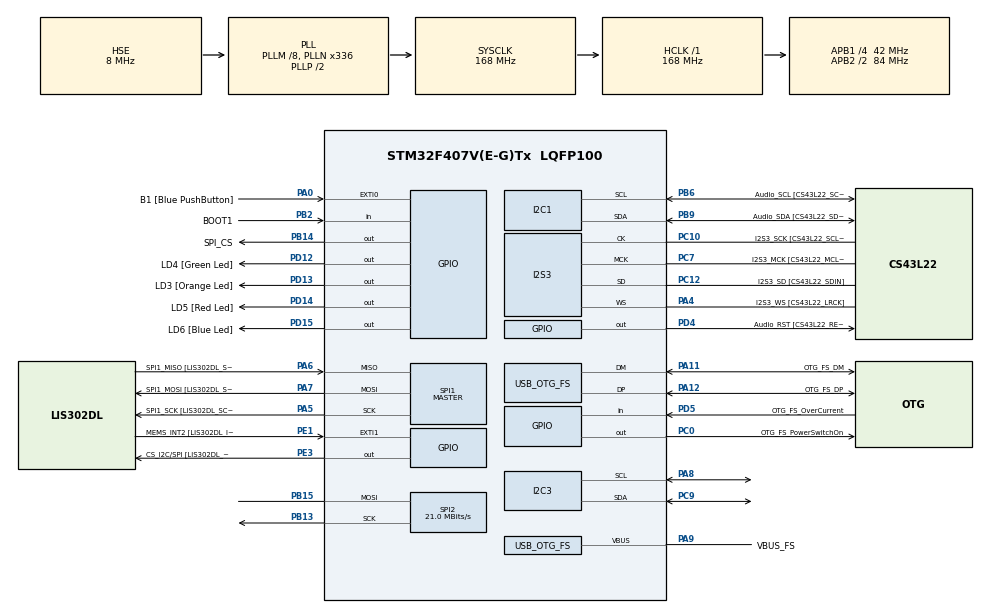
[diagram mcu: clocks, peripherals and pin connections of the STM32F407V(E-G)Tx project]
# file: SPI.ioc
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Dma.Request0=SPI2_TX
Dma.SPI2_TX.0.Direction=DMA_MEMORY_TO_PERIPH
Dma.SPI2_TX.0.FIFOMode=DMA_FIFOMODE_DISABLE
Dma.SPI2_TX.0.Instance=DMA1_Stream4
Dma.SPI2_TX.0.MemDataAlignment=DMA_MDATAALIGN_BYTE
Dma.SPI2_TX.0.MemInc=DMA_MINC_ENABLE
Dma.SPI2_TX.0.Mode=DMA_NORMAL
Dma.SPI2_TX.0.PeriphDataAlignment=DMA_PDATAALIGN_BYTE
Dma.SPI2_TX.0.PeriphInc=DMA_PINC_DISABLE
Dma.SPI2_TX.0.Priority=DMA_PRIORITY_LOW
I2S3.AudioFreq-Half_Duplex_Master=I2S_AUDIOFREQ_96K
I2S3.ErrorAudioFreq=-2.34 %
I2S3.ErrorAudioFreq-Half_Duplex_Master=0.8 %
I2S3.FullDuplexMode=I2S_FULLDUPLEXMODE_DISABLE
I2S3.Instance=SPI$Index
I2S3.RealAudioFreq=93.75 KHz
I2S3.RealAudioFreq-Half_Duplex_Master=96.774 KHz
I2S3.VirtualMode=I2S_MODE_MASTER
Mcu.Family=STM32F4
Mcu.Name=STM32F407V(E-G)Tx
Mcu.Package=LQFP100
NVIC.DMA1_Stream4_IRQn=true\:0\:0\:false\:false\:true\:false\:true\:true
NVIC.OTG_FS_IRQn=true\:0\:0\:false\:false\:true\:true\:true\:true
NVIC.PriorityGroup=NVIC_PRIORITYGROUP_0
PA0-WKUP.GPIO_Label=B1 [Blue PushButton]
PA0-WKUP.GPIO_ModeDefaultEXTI=GPIO_MODE_EVT_RISING
PA0-WKUP.GPIO_PuPd=GPIO_NOPULL
PA0-WKUP.Signal=GPXTI0
PA10.GPIO_Label=OTG_FS_ID
PA10.GPIO_Mode=GPIO_MODE_AF_PP
PA10.GPIO_PuPd=GPIO_NOPULL
PA10.GPIO_Speed=GPIO_SPEED_FREQ_LOW
PA10.Signal=USB_OTG_FS_ID
PA11.GPIO_Label=OTG_FS_DM
PA11.GPIO_Mode=GPIO_MODE_AF_PP
PA11.GPIO_PuPd=GPIO_NOPULL
PA11.GPIO_Speed=GPIO_SPEED_FREQ_LOW
PA11.Mode=Host_Only
PA11.Signal=USB_OTG_FS_DM
PA12.GPIO_Label=OTG_FS_DP
PA12.GPIO_Mode=GPIO_MODE_AF_PP
PA12.GPIO_PuPd=GPIO_NOPULL
PA12.GPIO_Speed=GPIO_SPEED_FREQ_LOW
PA12.Mode=Host_Only
PA12.Signal=USB_OTG_FS_DP
PA13.GPIO_Label=SWDIO
PA13.Mode=Serial_Wire
PA13.Signal=SYS_JTMS-SWDIO
PA14.GPIO_Label=SWCLK
PA14.Mode=Serial_Wire
PA14.Signal=SYS_JTCK-SWCLK
PA4.GPIO_Label=I2S3_WS [CS43L22_LRCK]
PA4.GPIO_Mode=GPIO_MODE_AF_PP
PA4.GPIO_PuPd=GPIO_NOPULL
PA4.GPIO_Speed=GPIO_SPEED_FREQ_LOW
PA4.Mode=Half_Duplex_Master
PA4.Signal=I2S3_WS
PA5.GPIO_Label=SPI1_SCK [LIS302DL_SCL/SPC]
PA5.GPIO_Mode=GPIO_MODE_AF_PP
PA5.GPIO_PuPd=GPIO_NOPULL
PA5.GPIO_Speed=GPIO_SPEED_FREQ_LOW
PA5.Mode=Full_Duplex_Master
PA5.Signal=SPI1_SCK
PA6.GPIO_Label=SPI1_MISO [LIS302DL_SDO]
PA6.GPIO_Mode=GPIO_MODE_AF_PP
PA6.GPIO_PuPd=GPIO_NOPULL
PA6.GPIO_Speed=GPIO_SPEED_FREQ_LOW
PA6.Mode=Full_Duplex_Master
PA6.Signal=SPI1_MISO
PA7.GPIO_Label=SPI1_MOSI [LIS302DL_SDA/SDI/SDO]
PA7.GPIO_Mode=GPIO_MODE_AF_PP
PA7.GPIO_PuPd=GPIO_NOPULL
PA7.GPIO_Speed=GPIO_SPEED_FREQ_LOW
PA7.Mode=Full_Duplex_Master
PA7.Signal=SPI1_MOSI
PA8.Mode=I2C
PA8.Signal=I2C3_SCL
PA9.GPIO_Label=VBUS_FS
PA9.GPIO_Mode=GPIO_MODE_INPUT
PA9.GPIO_PuPd=GPIO_NOPULL
PA9.Mode=Activate_VBUS
PA9.Signal=USB_OTG_FS_VBUS
PB10.GPIO_Label=CLK_IN [MP45DT02_CLK]
PB10.GPIO_Mode=GPIO_MODE_AF_PP
PB10.GPIO_PuPd=GPIO_NOPULL
PB10.GPIO_Speed=GPIO_SPEED_FREQ_LOW
PB10.Signal=I2S2_CK
PB13.Mode=Simplex_Bidirectional_Master
PB13.Signal=SPI2_SCK
PB14.GPIO_Label=SPI_CS
PB14.PinState=GPIO_PIN_SET
PB14.Signal=GPIO_Output
PB15.Mode=Simplex_Bidirectional_Master
PB15.Signal=SPI2_MOSI
PB2.GPIO_Label=BOOT1
PB2.GPIO_Mode=GPIO_MODE_INPUT
PB2.GPIO_PuPd=GPIO_NOPULL
PB2.Signal=GPIO_Input
PB3.GPIO_Label=SWO
PB3.Signal=SYS_JTDO-SWO
PB6.GPIO_Label=Audio_SCL [CS43L22_SCL]
PB6.GPIO_Mode=GPIO_MODE_AF_OD
PB6.GPIO_Pu=GPIO_PULLUP
PB6.GPIO_PuPd=GPIO_NOPULL
PB6.GPIO_Speed=GPIO_SPEED_FREQ_LOW
PB6.Mode=I2C
PB6.Signal=I2C1_SCL
PB9.GPIO_Label=Audio_SDA [CS43L22_SDA]
PB9.GPIO_Mode=GPIO_MODE_AF_OD
PB9.GPIO_Pu=GPIO_PULLUP
PB9.GPIO_PuPd=GPIO_NOPULL
PB9.GPIO_Speed=GPIO_SPEED_FREQ_LOW
PB9.Mode=I2C
PB9.Signal=I2C1_SDA
PC0.GPIO_Label=OTG_FS_PowerSwitchOn
PC0.GPIO_PuPd=GPIO_NOPULL
PC0.GPIO_Speed=GPIO_SPEED_FREQ_LOW
PC0.PinState=GPIO_PIN_SET
PC0.Signal=GPIO_Output
PC10.GPIO_Label=I2S3_SCK [CS43L22_SCLK]
PC10.GPIO_Mode=GPIO_MODE_AF_PP
PC10.GPIO_PuPd=GPIO_NOPULL
PC10.GPIO_Speed=GPIO_SPEED_FREQ_LOW
PC10.Mode=Half_Duplex_Master
PC10.Signal=I2S3_CK
PC12.GPIO_Label=I2S3_SD [CS43L22_SDIN]
PC12.GPIO_Mode=GPIO_MODE_AF_PP
PC12.GPIO_PuPd=GPIO_NOPULL
PC12.GPIO_Speed=GPIO_SPEED_FREQ_LOW
PC12.Mode=Half_Duplex_Master
PC12.Signal=I2S3_SD
PC14-OSC32_IN.GPIO_Label=PC14-OSC32_IN
PC14-OSC32_IN.Mode=LSE-External-Oscillator
PC14-OSC32_IN.Signal=RCC_OSC32_IN
PC15-OSC32_OUT.GPIO_Label=PC15-OSC32_OUT
PC15-OSC32_OUT.Mode=LSE-External-Oscillator
PC15-OSC32_OUT.Signal=RCC_OSC32_OUT
PC3.GPIO_Label=PDM_OUT [MP45DT02_DOUT]
PC3.GPIO_Mode=GPIO_MODE_AF_PP
PC3.GPIO_PuPd=GPIO_NOPULL
PC3.GPIO_Speed=GPIO_SPEED_FREQ_LOW
PC3.Signal=I2S2_SD
PC7.GPIO_Label=I2S3_MCK [CS43L22_MCLK]
PC7.GPIO_Mode=GPIO_MODE_AF_PP
PC7.GPIO_PuPd=GPIO_NOPULL
PC7.GPIO_Speed=GPIO_SPEED_FREQ_LOW
PC7.Mode=Master_Clock_Activated
PC7.Signal=I2S3_MCK
PC9.Mode=I2C
PC9.Signal=I2C3_SDA
PD12.GPIO_Label=LD4 [Green Led]
PD12.GPIO_PuPd=GPIO_NOPULL
PD12.GPIO_Speed=GPIO_SPEED_FREQ_LOW
PD12.Signal=GPIO_Output
PD13.GPIO_Label=LD3 [Orange Led]
PD13.GPIO_PuPd=GPIO_NOPULL
PD13.GPIO_Speed=GPIO_SPEED_FREQ_LOW
PD13.Signal=GPIO_Output
PD14.GPIO_Label=LD5 [Red Led]
PD14.GPIO_PuPd=GPIO_NOPULL
PD14.GPIO_Speed=GPIO_SPEED_FREQ_LOW
PD14.Signal=GPIO_Output
PD15.GPIO_Label=LD6 [Blue Led]
PD15.GPIO_PuPd=GPIO_NOPULL
PD15.GPIO_Speed=GPIO_SPEED_FREQ_LOW
PD15.Signal=GPIO_Output
PD4.GPIO_Label=Audio_RST [CS43L22_RESET]
PD4.GPIO_PuPd=GPIO_NOPULL
PD4.GPIO_Speed=GPIO_SPEED_FREQ_LOW
PD4.Signal=GPIO_Output
PD5.GPIO_Label=OTG_FS_OverCurrent
PD5.GPIO_Mode=GPIO_MODE_INPUT
PD5.GPIO_PuPd=GPIO_NOPULL
PD5.Signal=GPIO_Input
PE1.GPIO_Label=MEMS_INT2 [LIS302DL_INT2]
PE1.GPIO_ModeDefaultEXTI=GPIO_MODE_EVT_RISING
PE1.GPIO_PuPd=GPIO_NOPULL
PE1.Signal=GPXTI1
PE3.GPIO_Label=CS_I2C/SPI [LIS302DL_CS_I2C/SPI]
PE3.GPIO_PuPd=GPIO_NOPULL
PE3.GPIO_Speed=GPIO_SPEED_FREQ_LOW
PE3.Signal=GPIO_Output
PH0-OSC_IN.GPIO_Label=PH0-OSC_IN
PH0-OSC_IN.Mode=HSE-External-Oscillator
PH0-OSC_IN.Signal=RCC_OSC_IN
PH1-OSC_OUT.GPIO_Label=PH1-OSC_OUT
PH1-OSC_OUT.Mode=HSE-External-Oscillator
PH1-OSC_OUT.Signal=RCC_OSC_OUT
ProjectManager.HeapSize=0x200
ProjectManager.StackSize=0x400
ProjectManager.TargetToolchain=STM32CubeIDE
RCC.48MHZClocksFreq_Value=48000000
RCC.AHBFreq_Value=168000000
RCC.APB1CLKDivider=RCC_HCLK_DIV4
RCC.APB1Freq_Value=42000000
RCC.APB1TimFreq_Value=84000000
RCC.APB2CLKDivider=RCC_HCLK_DIV2
RCC.APB2Freq_Value=84000000
RCC.APB2TimFreq_Value=168000000
RCC.CortexFreq_Value=168000000
RCC.HCLKFreq_Value=168000000
RCC.HSE_VALUE=8000000
RCC.HSI_VALUE=16000000
RCC.PLLM=8
RCC.PLLN=336
RCC.PLLQ=7
RCC.SYSCLKFreq_VALUE=168000000
RCC.SYSCLKSource=RCC_SYSCLKSOURCE_PLLCLK
RCC.VCOOutputFreq_Value=336000000
SPI1.BaudRatePrescaler-Full_Duplex_Master=SPI_BAUDRATEPRESCALER_2
SPI1.CalculateBaudRate-Full_Duplex_Master=42.0 MBits/s
SPI1.Direction=SPI_DIRECTION_2LINES
SPI1.Mode=SPI_MODE_MASTER
SPI1.Mode-Full_Duplex_Master=SPI_MODE_MASTER
SPI1.VirtualType=VM_MASTER
SPI2.CalculateBaudRate=21.0 MBits/s
SPI2.Direction=SPI_DIRECTION_1LINE
SPI2.Mode=SPI_MODE_MASTER
SPI2.VirtualType=VM_MASTER
USB_HOST.BSP.number=1
USB_HOST.USBH_HandleTypeDef-CDC_FS=hUsbHostFS
USB_HOST.VirtualModeFS=Cdc
USB_HOST0.BSP.STBoard=false
USB_HOST0.BSP.api=Unknown
USB_HOST0.BSP.instance=PC0
USB_HOST0.BSP.ip=GPIO
USB_HOST0.BSP.mode=Output
USB_HOST0.BSP.name=Drive_VBUS_FS
USB_HOST0.BSP.solution=PC0
USB_OTG_FS.VirtualMode=Host_Only
USB_OTG_FS.phy_itface=HCD_PHY_EMBEDDED
VP_USB_HOST_VS_USB_HOST_CDC_FS.Mode=CDC_FS
board=STM32F407G-DISC1

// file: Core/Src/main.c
/* USER CODE BEGIN Header */
/**
  ******************************************************************************
  * @file           : main.c
  * @brief          : Main program body
  ******************************************************************************
  * @attention
  *
  * Copyright (c) 2026 STMicroelectronics.
  * All rights reserved.
  *
  * This software is licensed under terms that can be found in the LICENSE file
  * in the root directory of this software component.
  * If no LICENSE file comes with this software, it is provided AS-IS.
  *
  ******************************************************************************
  */
/* USER CODE END Header */
#include "main.h"
#include "usb_host.h"

/* USER CODE BEGIN Includes */

#include "MAX7219.h"
#include "DS3231.h"

/* USER CODE END Includes */

I2C_HandleTypeDef hi2c1;
I2C_HandleTypeDef hi2c3;

I2S_HandleTypeDef hi2s3;

SPI_HandleTypeDef hspi1;
SPI_HandleTypeDef hspi2;
DMA_HandleTypeDef hdma_spi2_tx;

void SystemClock_Config(void);
static void MX_GPIO_Init(void);
static void MX_DMA_Init(void);
static void MX_I2C1_Init(void);
static void MX_I2S3_Init(void);
static void MX_SPI1_Init(void);
static void MX_SPI2_Init(void);
static void MX_I2C3_Init(void);
void MX_USB_HOST_Process(void);

/* USER CODE BEGIN 0 */

uint8_t tx_data[2] = {0};
uint32_t counter = 0;
uint32_t i = 0;

/* USER CODE END 0 */

int main(void)
{

  /* MCU Configuration--------------------------------------------------------*/

  /* Reset of all peripherals, Initializes the Flash interface and the Systick. */
  HAL_Init();

  /* Configure the system clock */
  SystemClock_Config();

  /* Initialize all configured peripherals */
  MX_GPIO_Init();
  MX_DMA_Init();
  MX_I2C1_Init();
  MX_I2S3_Init();
  MX_SPI1_Init();
  MX_USB_HOST_Init();
  MX_SPI2_Init();
  MX_I2C3_Init();
  /* USER CODE BEGIN 2 */

  spiWriteRegister(&hspi2, SPI_CS_GPIO_Port, SPI_CS_Pin, DISPLAY_TEST, 0x1);
  HAL_Delay(1000);
  spiWriteRegister(&hspi2, SPI_CS_GPIO_Port, SPI_CS_Pin, DISPLAY_TEST, 0x0);

  spiWriteRegister(&hspi2, SPI_CS_GPIO_Port, SPI_CS_Pin, DECODE_MODE, 0x00);
  spiWriteRegister(&hspi2, SPI_CS_GPIO_Port, SPI_CS_Pin, INTENSITY, 0x0F);
  spiWriteRegister(&hspi2, SPI_CS_GPIO_Port, SPI_CS_Pin, SCAN_LIMIT, 0x0F);
  spiWriteRegister(&hspi2, SPI_CS_GPIO_Port, SPI_CS_Pin, SHUTDOWN, 0x01);

  /* USER CODE END 2 */

  /* Infinite loop */
  /* USER CODE BEGIN WHILE */
  while (1)
  {

	  counter = readBCDRegister(&hi2c3, 0x00);

	  tx_data[0] = 1;
	  tx_data[1] = NUMBERS[counter][i - 1];

	  HAL_GPIO_WritePin(SPI_CS_GPIO_Port, SPI_CS_Pin, GPIO_PIN_RESET);
	  HAL_SPI_Transmit_DMA(&hspi2, tx_data, 2);

	  HAL_Delay(100);

    /* USER CODE END WHILE */
    MX_USB_HOST_Process();

  }
}

void SystemClock_Config(void)
{
  RCC_OscInitTypeDef RCC_OscInitStruct = {0};
  RCC_ClkInitTypeDef RCC_ClkInitStruct = {0};

  /** Configure the main internal regulator output voltage
  */
  __HAL_RCC_PWR_CLK_ENABLE();
  __HAL_PWR_VOLTAGESCALING_CONFIG(PWR_REGULATOR_VOLTAGE_SCALE1);

  /** Initializes the RCC Oscillators according to the specified parameters
  * in the RCC_OscInitTypeDef structure.
  */
  RCC_OscInitStruct.OscillatorType = RCC_OSCILLATORTYPE_HSE;
  RCC_OscInitStruct.HSEState = RCC_HSE_ON;
  RCC_OscInitStruct.PLL.PLLState = RCC_PLL_ON;
  RCC_OscInitStruct.PLL.PLLSource = RCC_PLLSOURCE_HSE;
  RCC_OscInitStruct.PLL.PLLM = 8;
  RCC_OscInitStruct.PLL.PLLN = 336;
  RCC_OscInitStruct.PLL.PLLP = RCC_PLLP_DIV2;
  RCC_OscInitStruct.PLL.PLLQ = 7;
  if (HAL_RCC_OscConfig(&RCC_OscInitStruct) != HAL_OK)
  {
    Error_Handler();
  }

  /** Initializes the CPU, AHB and APB buses clocks
  */
  RCC_ClkInitStruct.ClockType = RCC_CLOCKTYPE_HCLK|RCC_CLOCKTYPE_SYSCLK
                              |RCC_CLOCKTYPE_PCLK1|RCC_CLOCKTYPE_PCLK2;
  RCC_ClkInitStruct.SYSCLKSource = RCC_SYSCLKSOURCE_PLLCLK;
  RCC_ClkInitStruct.AHBCLKDivider = RCC_SYSCLK_DIV1;
  RCC_ClkInitStruct.APB1CLKDivider = RCC_HCLK_DIV4;
  RCC_ClkInitStruct.APB2CLKDivider = RCC_HCLK_DIV2;

  if (HAL_RCC_ClockConfig(&RCC_ClkInitStruct, FLASH_LATENCY_5) != HAL_OK)
  {
    Error_Handler();
  }
}

static void MX_I2C1_Init(void)
{

  hi2c1.Instance = I2C1;
  hi2c1.Init.ClockSpeed = 100000;
  hi2c1.Init.DutyCycle = I2C_DUTYCYCLE_2;
  hi2c1.Init.OwnAddress1 = 0;
  hi2c1.Init.AddressingMode = I2C_ADDRESSINGMODE_7BIT;
  hi2c1.Init.DualAddressMode = I2C_DUALADDRESS_DISABLE;
  hi2c1.Init.OwnAddress2 = 0;
  hi2c1.Init.GeneralCallMode = I2C_GENERALCALL_DISABLE;
  hi2c1.Init.NoStretchMode = I2C_NOSTRETCH_DISABLE;
  if (HAL_I2C_Init(&hi2c1) != HAL_OK)
  {
    Error_Handler();
  }

}

static void MX_I2C3_Init(void)
{

  hi2c3.Instance = I2C3;
  hi2c3.Init.ClockSpeed = 100000;
  hi2c3.Init.DutyCycle = I2C_DUTYCYCLE_2;
  hi2c3.Init.OwnAddress1 = 0;
  hi2c3.Init.AddressingMode = I2C_ADDRESSINGMODE_7BIT;
  hi2c3.Init.DualAddressMode = I2C_DUALADDRESS_DISABLE;
  hi2c3.Init.OwnAddress2 = 0;
  hi2c3.Init.GeneralCallMode = I2C_GENERALCALL_DISABLE;
  hi2c3.Init.NoStretchMode = I2C_NOSTRETCH_DISABLE;
  if (HAL_I2C_Init(&hi2c3) != HAL_OK)
  {
    Error_Handler();
  }

}

static void MX_I2S3_Init(void)
{

  hi2s3.Instance = SPI3;
  hi2s3.Init.Mode = I2S_MODE_MASTER_TX;
  hi2s3.Init.Standard = I2S_STANDARD_PHILIPS;
  hi2s3.Init.DataFormat = I2S_DATAFORMAT_16B;
  hi2s3.Init.MCLKOutput = I2S_MCLKOUTPUT_ENABLE;
  hi2s3.Init.AudioFreq = I2S_AUDIOFREQ_96K;
  hi2s3.Init.CPOL = I2S_CPOL_LOW;
  hi2s3.Init.ClockSource = I2S_CLOCK_PLL;
  hi2s3.Init.FullDuplexMode = I2S_FULLDUPLEXMODE_DISABLE;
  if (HAL_I2S_Init(&hi2s3) != HAL_OK)
  {
    Error_Handler();
  }

}

static void MX_SPI1_Init(void)
{

  /* SPI1 parameter configuration*/
  hspi1.Instance = SPI1;
  hspi1.Init.Mode = SPI_MODE_MASTER;
  hspi1.Init.Direction = SPI_DIRECTION_2LINES;
  hspi1.Init.DataSize = SPI_DATASIZE_8BIT;
  hspi1.Init.CLKPolarity = SPI_POLARITY_LOW;
  hspi1.Init.CLKPhase = SPI_PHASE_1EDGE;
  hspi1.Init.NSS = SPI_NSS_SOFT;
  hspi1.Init.BaudRatePrescaler = SPI_BAUDRATEPRESCALER_2;
  hspi1.Init.FirstBit = SPI_FIRSTBIT_MSB;
  hspi1.Init.TIMode = SPI_TIMODE_DISABLE;
  hspi1.Init.CRCCalculation = SPI_CRCCALCULATION_DISABLE;
  hspi1.Init.CRCPolynomial = 10;
  if (HAL_SPI_Init(&hspi1) != HAL_OK)
  {
    Error_Handler();
  }

}

static void MX_SPI2_Init(void)
{

  /* SPI2 parameter configuration*/
  hspi2.Instance = SPI2;
  hspi2.Init.Mode = SPI_MODE_MASTER;
  hspi2.Init.Direction = SPI_DIRECTION_1LINE;
  hspi2.Init.DataSize = SPI_DATASIZE_8BIT;
  hspi2.Init.CLKPolarity = SPI_POLARITY_LOW;
  hspi2.Init.CLKPhase = SPI_PHASE_1EDGE;
  hspi2.Init.NSS = SPI_NSS_SOFT;
  hspi2.Init.BaudRatePrescaler = SPI_BAUDRATEPRESCALER_2;
  hspi2.Init.FirstBit = SPI_FIRSTBIT_MSB;
  hspi2.Init.TIMode = SPI_TIMODE_DISABLE;
  hspi2.Init.CRCCalculation = SPI_CRCCALCULATION_DISABLE;
  hspi2.Init.CRCPolynomial = 10;
  if (HAL_SPI_Init(&hspi2) != HAL_OK)
  {
    Error_Handler();
  }

}

static void MX_DMA_Init(void)
{

  /* DMA controller clock enable */
  __HAL_RCC_DMA1_CLK_ENABLE();

  /* DMA interrupt init */
  /* DMA1_Stream4_IRQn interrupt configuration */
  HAL_NVIC_SetPriority(DMA1_Stream4_IRQn, 0, 0);
  HAL_NVIC_EnableIRQ(DMA1_Stream4_IRQn);

}

static void MX_GPIO_Init(void)
{
  GPIO_InitTypeDef GPIO_InitStruct = {0};

  /* GPIO Ports Clock Enable */
  __HAL_RCC_GPIOE_CLK_ENABLE();
  __HAL_RCC_GPIOC_CLK_ENABLE();
  __HAL_RCC_GPIOH_CLK_ENABLE();
  __HAL_RCC_GPIOA_CLK_ENABLE();
  __HAL_RCC_GPIOB_CLK_ENABLE();
  __HAL_RCC_GPIOD_CLK_ENABLE();

  /*Configure GPIO pin Output Level */
  HAL_GPIO_WritePin(CS_I2C_SPI_GPIO_Port, CS_I2C_SPI_Pin, GPIO_PIN_RESET);

  /*Configure GPIO pin Output Level */
  HAL_GPIO_WritePin(OTG_FS_PowerSwitchOn_GPIO_Port, OTG_FS_PowerSwitchOn_Pin, GPIO_PIN_SET);

  /*Configure GPIO pin Output Level */
  HAL_GPIO_WritePin(SPI_CS_GPIO_Port, SPI_CS_Pin, GPIO_PIN_SET);

  /*Configure GPIO pin Output Level */
  HAL_GPIO_WritePin(GPIOD, LD4_Pin|LD3_Pin|LD5_Pin|LD6_Pin
                          |Audio_RST_Pin, GPIO_PIN_RESET);

  /*Configure GPIO pin : CS_I2C_SPI_Pin */
  GPIO_InitStruct.Pin = CS_I2C_SPI_Pin;
  GPIO_InitStruct.Mode = GPIO_MODE_OUTPUT_PP;
  GPIO_InitStruct.Pull = GPIO_NOPULL;
  GPIO_InitStruct.Speed = GPIO_SPEED_FREQ_LOW;
  HAL_GPIO_Init(CS_I2C_SPI_GPIO_Port, &GPIO_InitStruct);

  /*Configure GPIO pin : OTG_FS_PowerSwitchOn_Pin */
  GPIO_InitStruct.Pin = OTG_FS_PowerSwitchOn_Pin;
  GPIO_InitStruct.Mode = GPIO_MODE_OUTPUT_PP;
  GPIO_InitStruct.Pull = GPIO_NOPULL;
  GPIO_InitStruct.Speed = GPIO_SPEED_FREQ_LOW;
  HAL_GPIO_Init(OTG_FS_PowerSwitchOn_GPIO_Port, &GPIO_InitStruct);

  /*Configure GPIO pin : PDM_OUT_Pin */
  GPIO_InitStruct.Pin = PDM_OUT_Pin;
  GPIO_InitStruct.Mode = GPIO_MODE_AF_PP;
  GPIO_InitStruct.Pull = GPIO_NOPULL;
  GPIO_InitStruct.Speed = GPIO_SPEED_FREQ_LOW;
  GPIO_InitStruct.Alternate = GPIO_AF5_SPI2;
  HAL_GPIO_Init(PDM_OUT_GPIO_Port, &GPIO_InitStruct);

  /*Configure GPIO pin : B1_Pin */
  GPIO_InitStruct.Pin = B1_Pin;
  GPIO_InitStruct.Mode = GPIO_MODE_EVT_RISING;
  GPIO_InitStruct.Pull = GPIO_NOPULL;
  HAL_GPIO_Init(B1_GPIO_Port, &GPIO_InitStruct);

  /*Configure GPIO pin : BOOT1_Pin */
  GPIO_InitStruct.Pin = BOOT1_Pin;
  GPIO_InitStruct.Mode = GPIO_MODE_INPUT;
  GPIO_InitStruct.Pull = GPIO_NOPULL;
  HAL_GPIO_Init(BOOT1_GPIO_Port, &GPIO_InitStruct);

  /*Configure GPIO pin : CLK_IN_Pin */
  GPIO_InitStruct.Pin = CLK_IN_Pin;
  GPIO_InitStruct.Mode = GPIO_MODE_AF_PP;
  GPIO_InitStruct.Pull = GPIO_NOPULL;
  GPIO_InitStruct.Speed = GPIO_SPEED_FREQ_LOW;
  GPIO_InitStruct.Alternate = GPIO_AF5_SPI2;
  HAL_GPIO_Init(CLK_IN_GPIO_Port, &GPIO_InitStruct);

  /*Configure GPIO pin : SPI_CS_Pin */
  GPIO_InitStruct.Pin = SPI_CS_Pin;
  GPIO_InitStruct.Mode = GPIO_MODE_OUTPUT_PP;
  GPIO_InitStruct.Pull = GPIO_NOPULL;
  GPIO_InitStruct.Speed = GPIO_SPEED_FREQ_LOW;
  HAL_GPIO_Init(SPI_CS_GPIO_Port, &GPIO_InitStruct);

  /*Configure GPIO pins : LD4_Pin LD3_Pin LD5_Pin LD6_Pin
                           Audio_RST_Pin */
  GPIO_InitStruct.Pin = LD4_Pin|LD3_Pin|LD5_Pin|LD6_Pin
                          |Audio_RST_Pin;
  GPIO_InitStruct.Mode = GPIO_MODE_OUTPUT_PP;
  GPIO_InitStruct.Pull = GPIO_NOPULL;
  GPIO_InitStruct.Speed = GPIO_SPEED_FREQ_LOW;
  HAL_GPIO_Init(GPIOD, &GPIO_InitStruct);

  /*Configure GPIO pin : OTG_FS_OverCurrent_Pin */
  GPIO_InitStruct.Pin = OTG_FS_OverCurrent_Pin;
  GPIO_InitStruct.Mode = GPIO_MODE_INPUT;
  GPIO_InitStruct.Pull = GPIO_NOPULL;
  HAL_GPIO_Init(OTG_FS_OverCurrent_GPIO_Port, &GPIO_InitStruct);

  /*Configure GPIO pin : MEMS_INT2_Pin */
  GPIO_InitStruct.Pin = MEMS_INT2_Pin;
  GPIO_InitStruct.Mode = GPIO_MODE_EVT_RISING;
  GPIO_InitStruct.Pull = GPIO_NOPULL;
  HAL_GPIO_Init(MEMS_INT2_GPIO_Port, &GPIO_InitStruct);

}

/* USER CODE BEGIN 4 */

void HAL_SPI_TxCpltCallback(SPI_HandleTypeDef *hspi) {
	if(hspi->Instance != hspi2.Instance) return;

	HAL_GPIO_WritePin(SPI_CS_GPIO_Port, SPI_CS_Pin, GPIO_PIN_SET);
	i++;

	if(i < 9) {
		tx_data[0] = i;
		tx_data[1] = NUMBERS[counter][i - 1];

		HAL_GPIO_WritePin(SPI_CS_GPIO_Port, SPI_CS_Pin, GPIO_PIN_RESET);
		HAL_SPI_Transmit_DMA(&hspi2, tx_data, 2);
	}else{
		//counter++;
		//if(counter >= 60)
		//	counter -= 60;
		i = 1;
	}

}

/* USER CODE END 4 */

void Error_Handler(void)
{
  __disable_irq();
  while (1)
  {
  }
}
